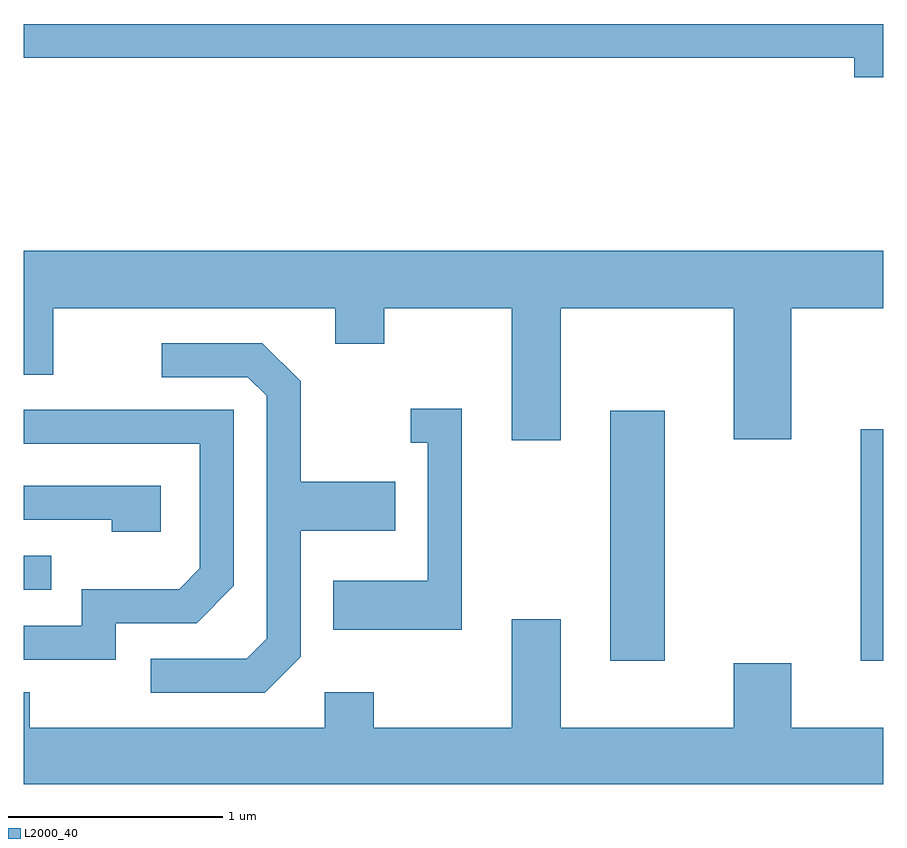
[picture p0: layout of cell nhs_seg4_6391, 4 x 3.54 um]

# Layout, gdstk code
import gdstk
lib = gdstk.Library(unit=1e-6, precision=1e-09)
def R(c, l, rs):  # rectangles x0, y0, x1, y1
    for r in rs: c.add(gdstk.rectangle(r[:2], r[2:], *l))
def P(c, l, *ps):  # polygons
    for p in ps: c.add(gdstk.Polygon(p, *l))
L2000_40 = (2000, 40)

nhs_seg4_6391 = lib.new_cell('nhs_seg4_6391')
R(nhs_seg4_6391, L2000_40, [(374.341,1388.556,374.594,1389.719), (375.506,1388.556,375.611,1389.634), (371.611,1388.886,371.738,1389.044)])
P(nhs_seg4_6391, L2000_40, [(375.611,1391.519),(371.611,1391.519),(371.611,1391.361),(375.476,1391.361),(375.476,1391.271),(375.611,1391.271)],
  [(371.611,1389.886),(371.749,1389.886),(371.749,1390.196),(373.061,1390.196),(373.061,1390.031),(373.289,1390.031),(373.289,1390.196),(373.881,1390.196),(373.881,1389.581),(374.109,1389.581),(374.109,1390.196),(374.916,1390.196),(374.916,1389.586),(375.184,1389.586),(375.184,1390.196),(375.611,1390.196),(375.611,1390.464),(371.611,1390.464)],
  [(372.899,1388.574),(372.899,1389.161),(373.339,1389.161),(373.339,1389.389),(372.899,1389.389),(372.899,1389.857),(372.722,1390.034),(372.253,1390.034),(372.253,1389.876),(372.654,1389.876),(372.741,1389.789),(372.741,1388.657),(372.649,1388.564),(372.203,1388.564),(372.203,1388.406),(372.732,1388.406)],
  [(373.649,1389.729),(373.413,1389.729),(373.413,1389.571),(373.491,1389.571),(373.491,1388.929),(373.051,1388.929),(373.051,1388.701),(373.649,1388.701)],
  [(372.039,1388.731),(372.417,1388.731),(372.589,1388.904),(372.589,1389.724),(371.611,1389.724),(371.611,1389.566),(372.431,1389.566),(372.431,1388.987),(372.334,1388.889),(371.881,1388.889),(371.881,1388.719),(371.611,1388.719),(371.611,1388.561),(372.039,1388.561)],
  [(372.249,1389.369),(371.611,1389.369),(371.611,1389.211),(372.021,1389.211),(372.021,1389.156),(372.249,1389.156)],
  [(375.611,1388.244),(375.184,1388.244),(375.184,1388.544),(374.916,1388.544),(374.916,1388.244),(374.109,1388.244),(374.109,1388.749),(373.881,1388.749),(373.881,1388.244),(373.239,1388.244),(373.239,1388.409),(373.011,1388.409),(373.011,1388.244),(371.639,1388.244),(371.639,1388.409),(371.611,1388.409),(371.611,1387.982),(375.611,1387.982)])

lib.write_gds('nhs_seg4_6391.gds')
